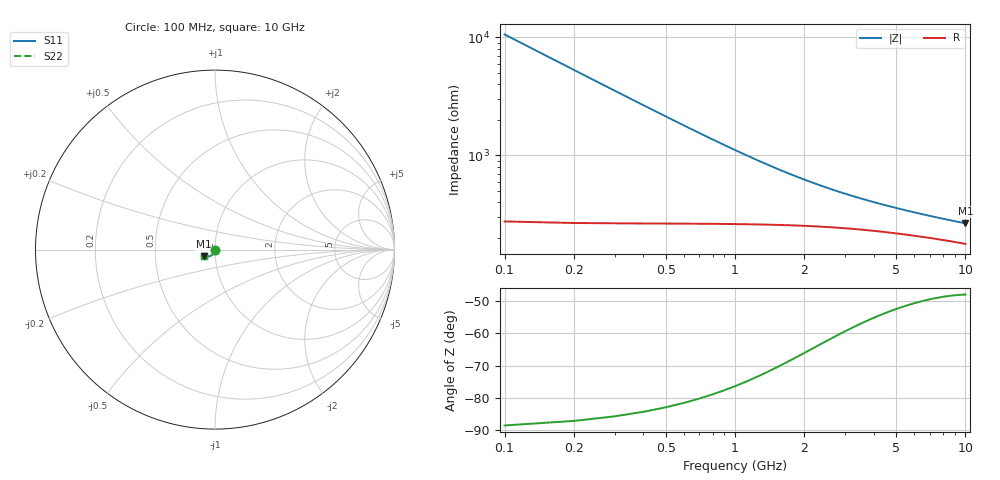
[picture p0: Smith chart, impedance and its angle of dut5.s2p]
! Touchstone file exported from HFSS 2024.1.0
!  File:  C:/UserFiles/LocalFiles/RDL_TSV_Batchsim/temp_TSV1_5_1778746162.aedt
!  Generated:  04:13:56 PM May 14, 2026
!  Design:  TSV1
!  Project:  temp_TSV1_5_1778746162
!  Setup:  Setup1
!  Solution:  Sweep
! Variables:
!  dtsv = 17.5um
!  hbump = 3um
!  htsv = 70.86um
!  lrdl = 252.1521522um
!  p = 40
!  p1 = 48.13um
!  t = 500um
!  trdl = 3um
!  wrdl = 24.89489489um
# GHz S MA R 50.000000
! Terminal data exported
! Port[1] = TSV22_T1
! Port[2] = TSV22_T2
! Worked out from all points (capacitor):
!   100 points, 100 MHz to 10 GHz, reference 50 ohm
!   read as one part in shunt: C = 151 fF near 100 MHz
!   lowest |Z| = 266 ohm at 10 GHz (marker M1)
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0.1  0.002081 -89.7  0.9999 -0.2  0.9999 -0.2  0.002081 -89.7
! Gamma 0 0 0 0
! Port Impedance 50 0 50 0
0.2  0.004154 -92.4  0.9997 -0.3  0.9997 -0.3  0.004154 -92.4
0.3  0.006213 -94.4  0.9994 -0.5  0.9994 -0.5  0.006213 -94.4
0.4  0.008252 -96.3  0.9989 -0.6  0.9989 -0.6  0.008252 -96.3
0.5  0.01026 -98.0  0.9984 -0.7  0.9984 -0.7  0.01026 -98.0
0.6  0.01224 -99.7  0.9977 -0.9  0.9977 -0.9  0.01224 -99.7
0.7  0.01419 -101.4  0.997 -1.0  0.997 -1.0  0.01419 -101.4
0.8  0.01609 -103.0  0.9961 -1.2  0.9961 -1.2  0.01609 -103.0
0.9  0.01794 -104.6  0.9952 -1.3  0.9952 -1.3  0.01794 -104.6
1.1  0.0215 -107.6  0.9932 -1.5  0.9932 -1.5  0.0215 -107.6
1.4  0.02644 -111.7  0.99 -1.8  0.99 -1.8  0.02644 -111.7
1.6  0.02946 -114.3  0.9877 -2.0  0.9877 -2.0  0.02946 -114.3
1.8  0.03225 -116.7  0.9854 -2.2  0.9854 -2.2  0.03225 -116.7
2.1  0.03606 -119.9  0.982 -2.4  0.982 -2.4  0.03606 -119.9
2.5  0.04048 -123.7  0.9777 -2.7  0.9777 -2.7  0.04048 -123.7
2.9  0.04427 -126.9  0.9737 -2.9  0.9737 -2.9  0.04427 -126.9
3.4  0.0483 -130.2  0.9693 -3.1  0.9693 -3.1  0.0483 -130.2
4.2  0.05354 -134.4  0.9631 -3.5  0.9631 -3.5  0.05354 -134.4
5.1  0.05822 -138.0  0.9573 -3.8  0.9573 -3.8  0.05822 -138.0
6.7  0.06454 -142.5  0.9495 -4.2  0.9495 -4.2  0.06454 -142.5
8.4  0.06947 -145.8  0.9434 -4.7  0.9434 -4.7  0.06947 -145.8
10  0.07294 -148.2  0.9391 -5.2  0.9391 -5.2  0.07294 -148.2
